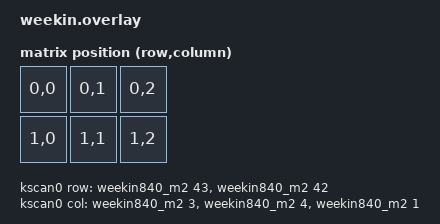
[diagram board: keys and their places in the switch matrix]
/*
 * Copyright (c) 2022 The ZMK Contributors
 *
 * SPDX-License-Identifier: MIT
 *
 */

#include <dt-bindings/zmk/matrix_transform.h>

/ {
    chosen {
        zmk,kscan = &kscan0;
        zmk,matrix_transform = &default_transform;
    };

    // 定义矩阵扫描的引脚
    //col2row :从col（列）进row（行）出；进的地方是高电平（GPIO_ACTIVE_HIGH），出的地方是拉低（GPIO_ACTIVE_HIGH | GPIO_PULL_DOWN），如果换进出模式，要遵循此规则
    kscan0: kscan_0 {
        compatible = "zmk,kscan-gpio-matrix";
        label = "KSCAN";
        diode-direction = "row2col";

        // 行
        // row-gpios
        //     = <&pro_micro 4 GPIO_ACTIVE_HIGH>
        //     , <&pro_micro 5 GPIO_ACTIVE_HIGH>
        //     ;
        // 列
        // col-gpios
        //     = <&pro_micro 24 (GPIO_ACTIVE_HIGH | GPIO_PULL_DOWN)>
        //     , <&pro_micro 13 (GPIO_ACTIVE_HIGH | GPIO_PULL_DOWN)>
        //     , <&pro_micro 9 (GPIO_ACTIVE_HIGH | GPIO_PULL_DOWN)>
        //     ;

        row-gpios
            = <&weekin840_m2 43 GPIO_ACTIVE_HIGH>
            , <&weekin840_m2 42 GPIO_ACTIVE_HIGH>
            ;
        col-gpios
            = <&weekin840_m2 3 (GPIO_ACTIVE_HIGH | GPIO_PULL_DOWN)>
            , <&weekin840_m2 4 (GPIO_ACTIVE_HIGH | GPIO_PULL_DOWN)>
            , <&weekin840_m2 1 (GPIO_ACTIVE_HIGH | GPIO_PULL_DOWN)>
            ;
        // row-gpios
        //     = <&gpio0 10 GPIO_ACTIVE_HIGH>
        //     , <&gpio1 6  GPIO_ACTIVE_HIGH>
        //     ;
        // col-gpios
        //     = <&gpio0 3 (GPIO_ACTIVE_HIGH | GPIO_PULL_DOWN)>
        //     , <&gpio0 28 (GPIO_ACTIVE_HIGH | GPIO_PULL_DOWN)>
        //     , <&gpio1 11 (GPIO_ACTIVE_HIGH | GPIO_PULL_DOWN)>
        //     ;
    };

    // 矩阵定义
    default_transform: keymap_transform_0 {
        compatible = "zmk,matrix-transform";
        rows= <2>;
        columns = <3>;
        
        map = <
            RC(0,0) RC(0,1) RC(0,2)
            RC(1,0) RC(1,1) RC(1,2)
        >;
    };
    

};

// &weekin840_m2_i2c {
// 	status = "okay";

// 	oled: ssd1306@3c {
// 		compatible = "solomon,ssd1306fb";
// 		reg = <0x3c>;
// 		label = "DISPLAY";
// 		width = <128>;
// 		height = <32>;
// 		segment-offset = <0>;
// 		page-offset = <0>;
// 		display-offset = <0>;
// 		multiplex-ratio = <31>;
// 		segment-remap;
// 		com-invdir;
// 		com-sequential;
// 		prechargep = <0x22>;
// 	};
// };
